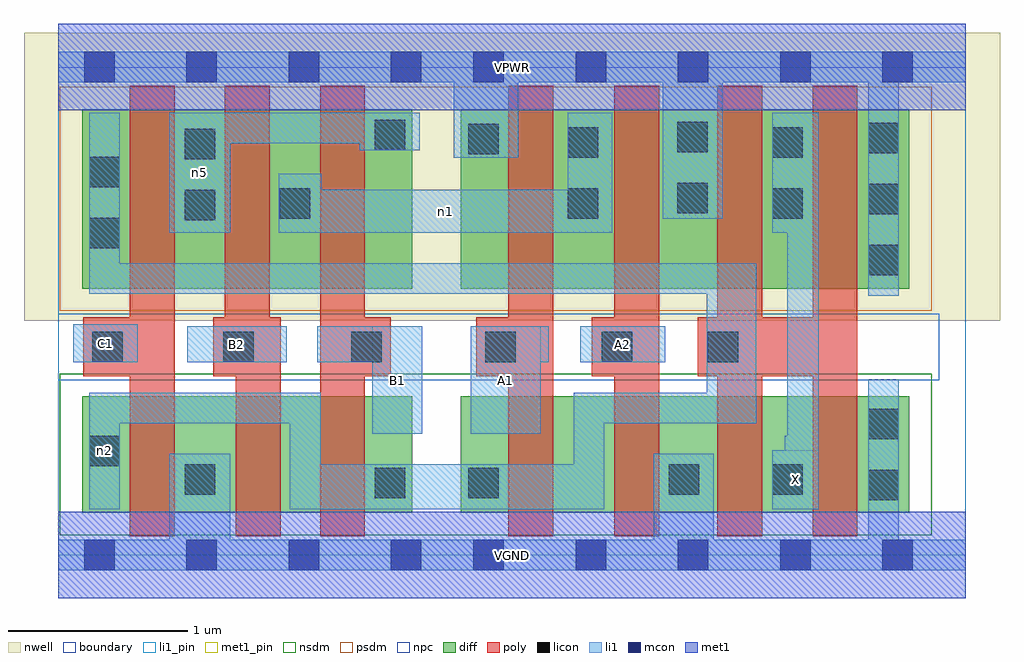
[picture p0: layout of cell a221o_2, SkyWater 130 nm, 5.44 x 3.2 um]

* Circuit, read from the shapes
.subckt a221o_2 A1 A2 B1 B2 C1 VGND VPWR X n1 n2 n5
XM1 VGND C1 n2 VSUBS sky130_fd_pr__nfet_01v8 w=0.65 l=0.25
XM2 n3 B2 VGND VSUBS sky130_fd_pr__nfet_01v8 w=0.65 l=0.25
XM3 n2 B1 n3 VSUBS sky130_fd_pr__nfet_01v8 w=0.65 l=0.25
XM4 n4 A1 n2 VSUBS sky130_fd_pr__nfet_01v8 w=0.65 l=0.25
XM5 VGND A2 n4 VSUBS sky130_fd_pr__nfet_01v8 w=0.65 l=0.25
XM6 X n2 VGND VSUBS sky130_fd_pr__nfet_01v8 w=0.65 l=0.25 m=2
XM7 n5 C1 n2 n6 sky130_fd_pr__pfet_01v8 w=1 l=0.25
XM8 n1 B2 n5 n6 sky130_fd_pr__pfet_01v8 w=1 l=0.25
XM9 n5 B1 n1 n6 sky130_fd_pr__pfet_01v8 w=1 l=0.25
XM10 n1 A1 VPWR n6 sky130_fd_pr__pfet_01v8 w=1 l=0.25
XM11 VPWR A2 n1 n6 sky130_fd_pr__pfet_01v8 w=1 l=0.25
XM12 X n2 VPWR n6 sky130_fd_pr__pfet_01v8 w=1 l=0.25 m=2
.ends

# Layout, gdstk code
import gdstk
lib = gdstk.Library(unit=1e-6, precision=1e-09)
def R(c, l, rs):  # rectangles x0, y0, x1, y1
    for r in rs: c.add(gdstk.rectangle(r[:2], r[2:], *l))
def A(c, l, x, y, w, h, nx, ny, dx, dy):  # array of equal rectangles
    R(c, l, [(x+i*dx, y+j*dy, x+i*dx+w, y+j*dy+h) for i in range(nx) for j in range(ny)])
nwell = (64, 20)
diff = (65, 20)
poly = (66, 20)
licon = (66, 44)
li1_pin = (67, 16)
li1 = (67, 20)
mcon = (67, 44)
met1_pin = (68, 16)
met1 = (68, 20)
nsdm = (93, 44)
psdm = (94, 20)
npc = (95, 20)
boundary = (235, 4)

a221o_2 = lib.new_cell('a221o_2')
R(a221o_2, nwell, [(-0.19,1.305,5.25,2.91), (0,1.305,5.06,2.91)])
R(a221o_2, diff, [(0.135,0.235,1.975,0.885), (2.245,0.235,4.745,0.885), (0.135,1.485,1.975,2.485), (2.245,1.485,4.745,2.485)])
R(a221o_2, poly, [(0.4,0.105,0.65,2.615), (0.99,0.105,1.24,1.325), (1.46,0.105,1.71,2.615), (2.51,0.105,2.76,2.615), (3.1,0.105,3.35,2.615), (3.675,0.105,3.925,2.615), (4.205,0.105,4.455,2.615), (0.14,0.995,0.65,1.325), (0.865,0.995,1.24,1.325), (0.93,0.995,1.18,2.615), (1.46,0.995,1.855,1.325), (2.33,0.995,2.76,1.325), (2.975,0.995,3.35,1.325), (3.565,0.995,4.455,1.325)])
A(a221o_2, licon, 4.515, 1.56, 0.17, 0.17, 1, 3, 0, 0.34)
R(a221o_2, licon, [(4.515,0.305,4.685,0.475), (1.765,0.315,1.935,0.485), (2.285,0.315,2.455,0.485), (0.705,0.335,0.875,0.505), (3.405,0.335,3.575,0.505), (3.98,0.335,4.15,0.505), (0.175,0.495,0.345,0.665), (4.515,0.645,4.685,0.815), (0.19,1.075,0.36,1.245), (0.92,1.075,1.09,1.245), (1.635,1.075,1.805,1.245), (2.38,1.075,2.55,1.245), (3.03,1.075,3.2,1.245), (3.62,1.075,3.79,1.245), (0.175,1.71,0.345,1.88), (0.705,1.865,0.875,2.035), (1.235,1.875,1.405,2.045), (2.84,1.875,3.01,2.045), (3.98,1.875,4.15,2.045), (3.45,1.905,3.62,2.075), (0.175,2.05,0.345,2.22), (0.705,2.205,0.875,2.375), (2.84,2.215,3.01,2.385), (3.98,2.215,4.15,2.385), (2.285,2.235,2.455,2.405), (3.45,2.245,3.62,2.415), (1.765,2.255,1.935,2.425)])
R(a221o_2, li1_pin, [(3.98,0.255,4.24,0.585), (1.75,0.675,2.03,1.275), (2.3,0.675,2.69,1.275), (0.085,1.075,0.445,1.285), (0.72,1.075,1.275,1.275), (2.91,1.075,3.385,1.275)])
R(a221o_2, li1, [(0,-0.085,5.06,0.085), (0.62,-0.085,0.96,0.565), (3.32,-0.085,3.655,0.565), (4.515,-0.085,4.685,0.98), (0.175,0.255,0.345,0.905), (1.29,0.255,3.045,0.505), (1.29,0.255,1.465,0.905), (2.875,0.255,3.045,0.905), (3.98,0.255,4.24,0.585), (4.05,0.255,4.24,0.665), (4.065,0.255,4.24,2.465), (1.75,0.675,2.03,1.275), (2.3,0.675,2.69,1.275), (0.175,0.735,1.465,0.905), (2.875,0.735,3.89,0.905), (3.615,0.735,3.89,1.625), (0.085,1.075,0.445,1.285), (0.72,1.075,1.275,1.275), (1.445,1.075,2.03,1.275), (2.3,1.075,2.735,1.275), (2.91,1.075,3.385,1.275), (4.515,1.445,4.685,2.805), (0.175,1.455,3.89,1.625), (0.175,1.455,0.345,2.465), (0.62,1.795,0.96,2.465), (1.23,1.795,3.09,2.035), (1.23,1.795,1.47,2.125), (2.84,1.795,3.09,2.465), (3.98,1.795,4.24,2.465), (3.37,1.875,3.705,2.805), (2.205,2.215,2.565,2.805), (1.68,2.255,2.015,2.465), (0.62,2.295,2.015,2.465), (0,2.635,5.06,2.805)])
A(a221o_2, mcon, 0.145, -0.085, 0.17, 0.17, 4, 2, 0.57, 2.72)
A(a221o_2, mcon, 2.315, -0.085, 0.17, 0.17, 5, 2, 0.57, 2.72)
R(a221o_2, met1_pin, [(0,-0.24,5.06,0.24), (0,2.48,5.06,2.96)])
R(a221o_2, met1, [(0,-0.24,5.06,0.24), (0,2.48,5.06,2.96)])
R(a221o_2, nsdm, [(0.01,0.11,4.87,1.01)])
R(a221o_2, psdm, [(0.01,1.36,4.87,2.61)])
R(a221o_2, npc, [(0,0.975,4.91,1.345)])
R(a221o_2, boundary, [(0,0,5.06,2.72)])
a221o_2.add(gdstk.Label('A1', (2.495,0.975), layer=67, texttype=5))
a221o_2.add(gdstk.Label('A2', (3.147,1.175), layer=67, texttype=5))
a221o_2.add(gdstk.Label('B1', (1.89,0.975), layer=67, texttype=5))
a221o_2.add(gdstk.Label('B2', (0.997,1.175), layer=67, texttype=5))
a221o_2.add(gdstk.Label('C1', (0.265,1.18), layer=67, texttype=5))
a221o_2.add(gdstk.Label('X', (4.11,0.42), layer=67, texttype=5))
a221o_2.add(gdstk.Label('n2', (0.26,0.58), layer=67, texttype=5))
a221o_2.add(gdstk.Label('n5', (0.79,2.13), layer=67, texttype=5))
a221o_2.add(gdstk.Label('n1', (2.16,1.915), layer=67, texttype=5))
a221o_2.add(gdstk.Label('VPWR', (2.53,2.72), layer=68, texttype=5))
a221o_2.add(gdstk.Label('VGND', (2.53,0), layer=68, texttype=5))
a221o_2.add(gdstk.Label('A1', (2.495,0.975), layer=67, texttype=16))
a221o_2.add(gdstk.Label('A2', (3.147,1.175), layer=67, texttype=16))
a221o_2.add(gdstk.Label('B1', (1.89,0.975), layer=67, texttype=16))
a221o_2.add(gdstk.Label('B2', (0.997,1.175), layer=67, texttype=16))
a221o_2.add(gdstk.Label('C1', (0.265,1.18), layer=67, texttype=16))
a221o_2.add(gdstk.Label('X', (4.11,0.42), layer=67, texttype=16))
a221o_2.add(gdstk.Label('VPWR', (2.53,2.72), layer=68, texttype=16))
a221o_2.add(gdstk.Label('VGND', (2.53,0), layer=68, texttype=16))

lib.write_gds('a221o_2.gds')
